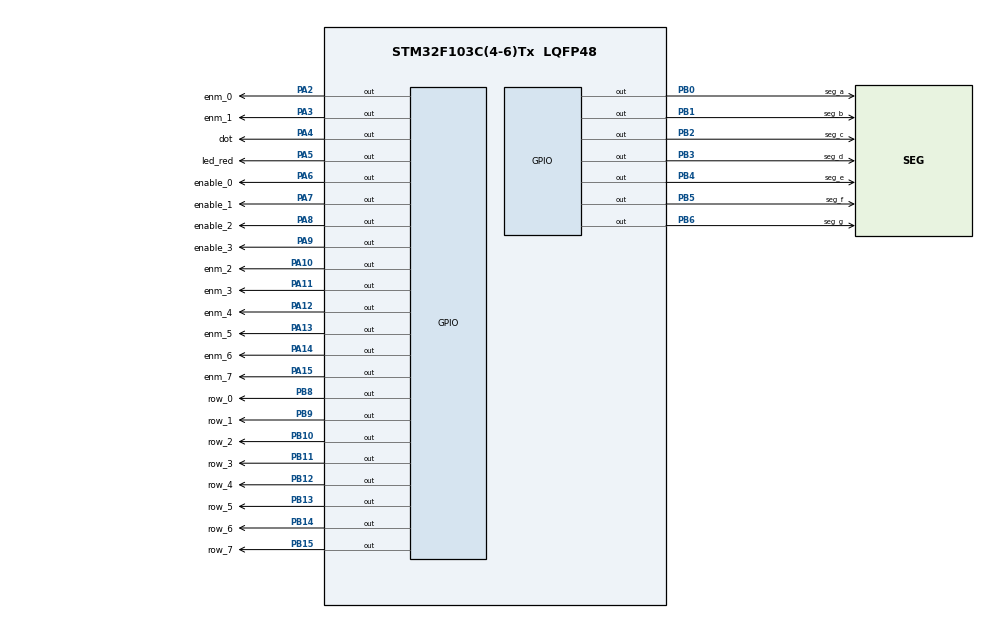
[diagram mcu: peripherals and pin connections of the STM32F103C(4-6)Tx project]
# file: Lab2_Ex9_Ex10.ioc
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Mcu.Family=STM32F1
Mcu.Name=STM32F103C(4-6)Tx
Mcu.Package=LQFP48
NVIC.PriorityGroup=NVIC_PRIORITYGROUP_4
NVIC.TIM2_IRQn=true\:0\:0\:false\:false\:true\:true\:true
PA10.GPIO_Label=enm_2
PA10.Signal=GPIO_Output
PA11.GPIO_Label=enm_3
PA11.Signal=GPIO_Output
PA12.GPIO_Label=enm_4
PA12.Signal=GPIO_Output
PA13.GPIO_Label=enm_5
PA13.Signal=GPIO_Output
PA14.GPIO_Label=enm_6
PA14.Signal=GPIO_Output
PA15.GPIO_Label=enm_7
PA15.Signal=GPIO_Output
PA2.GPIO_Label=enm_0
PA2.Signal=GPIO_Output
PA3.GPIO_Label=enm_1
PA3.Signal=GPIO_Output
PA4.GPIO_Label=dot
PA4.Signal=GPIO_Output
PA5.GPIO_Label=led_red
PA5.Signal=GPIO_Output
PA6.GPIO_Label=enable_0
PA6.Signal=GPIO_Output
PA7.GPIO_Label=enable_1
PA7.Signal=GPIO_Output
PA8.GPIO_Label=enable_2
PA8.Signal=GPIO_Output
PA9.GPIO_Label=enable_3
PA9.Signal=GPIO_Output
PB0.GPIO_Label=seg_a
PB0.Signal=GPIO_Output
PB1.GPIO_Label=seg_b
PB1.Signal=GPIO_Output
PB10.GPIO_Label=row_2
PB10.Signal=GPIO_Output
PB11.GPIO_Label=row_3
PB11.Signal=GPIO_Output
PB12.GPIO_Label=row_4
PB12.Signal=GPIO_Output
PB13.GPIO_Label=row_5
PB13.Signal=GPIO_Output
PB14.GPIO_Label=row_6
PB14.Signal=GPIO_Output
PB15.GPIO_Label=row_7
PB15.Signal=GPIO_Output
PB2.GPIO_Label=seg_c
PB2.Signal=GPIO_Output
PB3.GPIO_Label=seg_d
PB3.Signal=GPIO_Output
PB4.GPIO_Label=seg_e
PB4.Signal=GPIO_Output
PB5.GPIO_Label=seg_f
PB5.Signal=GPIO_Output
PB6.GPIO_Label=seg_g
PB6.Signal=GPIO_Output
PB8.GPIO_Label=row_0
PB8.Signal=GPIO_Output
PB9.GPIO_Label=row_1
PB9.Signal=GPIO_Output
ProjectManager.HeapSize=0x200
ProjectManager.StackSize=0x400
ProjectManager.TargetToolchain=STM32CubeIDE
RCC.APB1Freq_Value=8000000
RCC.APB2Freq_Value=8000000
TIM2.Period=10 - 1
TIM2.Prescaler=8000 - 1
VP_SYS_VS_ND.Mode=No_Debug
VP_TIM2_VS_ClockSourceINT.Mode=Internal
board=custom

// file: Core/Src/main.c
/* USER CODE BEGIN Header */
/**
  ******************************************************************************
  * @file           : main.c
  * @brief          : Main program body
  ******************************************************************************
  * @attention
  *
  * <h2><center>&copy; Copyright (c) 2022 STMicroelectronics.
  * All rights reserved.</center></h2>
  *
  * This software component is licensed by ST under BSD 3-Clause license,
  * the "License"; You may not use this file except in compliance with the
  * License. You may obtain a copy of the License at:
  *                        opensource.org/licenses/BSD-3-Clause
  *
  ******************************************************************************
  */
/* USER CODE END Header */
#include "main.h"

/* USER CODE BEGIN Includes */

#include"software_timer.h"

/* USER CODE END Includes */

TIM_HandleTypeDef htim2;

void SystemClock_Config(void);
static void MX_GPIO_Init(void);
static void MX_TIM2_Init(void);
/* USER CODE BEGIN PFP */

const int MAX_LED = 4;

void display7SEG(int num,
		GPIO_TypeDef* a_seg_GPIO_Port, uint16_t a_seg_Pin,
		GPIO_TypeDef* b_seg_GPIO_Port, uint16_t b_seg_Pin,
		GPIO_TypeDef* c_seg_GPIO_Port, uint16_t c_seg_Pin,
		GPIO_TypeDef* d_seg_GPIO_Port, uint16_t d_seg_Pin,
		GPIO_TypeDef* e_seg_GPIO_Port, uint16_t e_seg_Pin,
		GPIO_TypeDef* f_seg_GPIO_Port, uint16_t f_seg_Pin,
		GPIO_TypeDef* g_seg_GPIO_Port, uint16_t g_seg_Pin);

void update7SEG(int num);

int led_buffer [4] = {1 , 2 , 3 , 4};
void updateClockBuffer(int hour,  int minute);

uint8_t matrix_buffer[8] = {0x01 , 0x02 , 0x03 , 0x04 , 0x05 , 0x06 , 0x07 , 0x08 };
const int MAX_LED_MATRIX = 8;

void updateLEDMatrix (int index);

/* USER CODE END PFP */

int main(void)
{

  /* MCU Configuration--------------------------------------------------------*/

  /* Reset of all peripherals, Initializes the Flash interface and the Systick. */
  HAL_Init();

  /* Configure the system clock */
  SystemClock_Config();

  /* Initialize all configured peripherals */
  MX_GPIO_Init();
  MX_TIM2_Init();
  /* USER CODE BEGIN 2 */

  HAL_TIM_Base_Start_IT(&htim2);

  /* USER CODE END 2 */

  /* Infinite loop */
  /* USER CODE BEGIN WHILE */

  Set_timer(100, 0);
  Set_timer(50, 1);
  Set_timer(100, 2);
  int hour = 22 , minute = 59 , second = 50;
  int index_led = 0;
  int index_led_matrix = 0;
  int first_time = 1;
  while (1)
  {
	  if(first_time == 1)
	  {
			HAL_GPIO_WritePin(seg_a_GPIO_Port, seg_a_Pin, RESET);
			HAL_GPIO_WritePin(seg_b_GPIO_Port, seg_b_Pin, RESET);
			HAL_GPIO_WritePin(seg_c_GPIO_Port, seg_c_Pin, RESET);
			HAL_GPIO_WritePin(seg_d_GPIO_Port, seg_d_Pin, RESET);
			HAL_GPIO_WritePin(seg_e_GPIO_Port, seg_e_Pin, RESET);
			HAL_GPIO_WritePin(seg_f_GPIO_Port, seg_f_Pin, RESET);
			HAL_GPIO_WritePin(seg_g_GPIO_Port, seg_g_Pin, RESET);

			first_time = 0;
	  }

	  if(timer_flag[0] == 1)
	  {
		  Set_timer(100, 0);
		  HAL_GPIO_TogglePin(led_red_GPIO_Port, led_red_Pin);
		  HAL_GPIO_TogglePin(dot_GPIO_Port, dot_Pin);
		  second++;
		  if(second >= 60)
		  {
			  second = 0;
			  minute++;
		  }
		  if(minute >= 60)
		  {
			  minute = 0;
			  hour++;
		  }
		  if(hour >= 24)
		  {
			  hour = 0;
		  }

		  updateClockBuffer(hour, minute);

	  }

	  if(timer_flag[1] == 1)
	  {
		  Set_timer(50, 1);
		  if(index_led >= MAX_LED)
		  {
			  index_led = 0;
		  }
		  update7SEG(index_led);
		  display7SEG(led_buffer[index_led],
		  				  seg_a_GPIO_Port, seg_a_Pin,
		  				  seg_b_GPIO_Port, seg_b_Pin,
		  				  seg_c_GPIO_Port, seg_c_Pin,
		  				  seg_d_GPIO_Port, seg_d_Pin,
		  				  seg_e_GPIO_Port, seg_e_Pin,
		  				  seg_f_GPIO_Port, seg_f_Pin,
		  				  seg_g_GPIO_Port, seg_g_Pin);
		  index_led++;
	  }

	  if(timer_flag[2] == 1)
	  {
		  Set_timer(100, 2);
		  if(index_led_matrix >= 8)
		  {
			  index_led_matrix = 0;

		  updateLEDMatrix(index_led_matrix++);
	  }

    /* USER CODE END WHILE */

  }
}

void SystemClock_Config(void)
{
  RCC_OscInitTypeDef RCC_OscInitStruct = {0};
  RCC_ClkInitTypeDef RCC_ClkInitStruct = {0};

  /** Initializes the RCC Oscillators according to the specified parameters
  * in the RCC_OscInitTypeDef structure.
  */
  RCC_OscInitStruct.OscillatorType = RCC_OSCILLATORTYPE_HSI;
  RCC_OscInitStruct.HSIState = RCC_HSI_ON;
  RCC_OscInitStruct.HSICalibrationValue = RCC_HSICALIBRATION_DEFAULT;
  RCC_OscInitStruct.PLL.PLLState = RCC_PLL_NONE;
  if (HAL_RCC_OscConfig(&RCC_OscInitStruct) != HAL_OK)
  {
    Error_Handler();
  }
  /** Initializes the CPU, AHB and APB buses clocks
  */
  RCC_ClkInitStruct.ClockType = RCC_CLOCKTYPE_HCLK|RCC_CLOCKTYPE_SYSCLK
                              |RCC_CLOCKTYPE_PCLK1|RCC_CLOCKTYPE_PCLK2;
  RCC_ClkInitStruct.SYSCLKSource = RCC_SYSCLKSOURCE_HSI;
  RCC_ClkInitStruct.AHBCLKDivider = RCC_SYSCLK_DIV1;
  RCC_ClkInitStruct.APB1CLKDivider = RCC_HCLK_DIV1;
  RCC_ClkInitStruct.APB2CLKDivider = RCC_HCLK_DIV1;

  if (HAL_RCC_ClockConfig(&RCC_ClkInitStruct, FLASH_LATENCY_0) != HAL_OK)
  {
    Error_Handler();
  }
}

static void MX_TIM2_Init(void)
{

  TIM_ClockConfigTypeDef sClockSourceConfig = {0};
  TIM_MasterConfigTypeDef sMasterConfig = {0};

  htim2.Instance = TIM2;
  htim2.Init.Prescaler = 8000 - 1;
  htim2.Init.CounterMode = TIM_COUNTERMODE_UP;
  htim2.Init.Period = 10 - 1;
  htim2.Init.ClockDivision = TIM_CLOCKDIVISION_DIV1;
  htim2.Init.AutoReloadPreload = TIM_AUTORELOAD_PRELOAD_DISABLE;
  if (HAL_TIM_Base_Init(&htim2) != HAL_OK)
  {
    Error_Handler();
  }
  sClockSourceConfig.ClockSource = TIM_CLOCKSOURCE_INTERNAL;
  if (HAL_TIM_ConfigClockSource(&htim2, &sClockSourceConfig) != HAL_OK)
  {
    Error_Handler();
  }
  sMasterConfig.MasterOutputTrigger = TIM_TRGO_RESET;
  sMasterConfig.MasterSlaveMode = TIM_MASTERSLAVEMODE_DISABLE;
  if (HAL_TIMEx_MasterConfigSynchronization(&htim2, &sMasterConfig) != HAL_OK)
  {
    Error_Handler();
  }

}

static void MX_GPIO_Init(void)
{
  GPIO_InitTypeDef GPIO_InitStruct = {0};

  /* GPIO Ports Clock Enable */
  __HAL_RCC_GPIOA_CLK_ENABLE();
  __HAL_RCC_GPIOB_CLK_ENABLE();

  /*Configure GPIO pin Output Level */
  HAL_GPIO_WritePin(GPIOA, enm_0_Pin|enm_1_Pin|dot_Pin|led_red_Pin
                          |enable_0_Pin|enable_1_Pin|enable_2_Pin|enable_3_Pin
                          |enm_2_Pin|enm_3_Pin|enm_4_Pin|enm_5_Pin
                          |enm_6_Pin|enm_7_Pin, GPIO_PIN_RESET);

  /*Configure GPIO pin Output Level */
  HAL_GPIO_WritePin(GPIOB, seg_a_Pin|seg_b_Pin|seg_c_Pin|row_2_Pin
                          |row_3_Pin|row_4_Pin|row_5_Pin|row_6_Pin
                          |row_7_Pin|seg_d_Pin|seg_e_Pin|seg_f_Pin
                          |seg_g_Pin|row_0_Pin|row_1_Pin, GPIO_PIN_RESET);

  /*Configure GPIO pins : enm_0_Pin enm_1_Pin dot_Pin led_red_Pin
                           enable_0_Pin enable_1_Pin enable_2_Pin enable_3_Pin
                           enm_2_Pin enm_3_Pin enm_4_Pin enm_5_Pin
                           enm_6_Pin enm_7_Pin */
  GPIO_InitStruct.Pin = enm_0_Pin|enm_1_Pin|dot_Pin|led_red_Pin
                          |enable_0_Pin|enable_1_Pin|enable_2_Pin|enable_3_Pin
                          |enm_2_Pin|enm_3_Pin|enm_4_Pin|enm_5_Pin
                          |enm_6_Pin|enm_7_Pin;
  GPIO_InitStruct.Mode = GPIO_MODE_OUTPUT_PP;
  GPIO_InitStruct.Pull = GPIO_NOPULL;
  GPIO_InitStruct.Speed = GPIO_SPEED_FREQ_LOW;
  HAL_GPIO_Init(GPIOA, &GPIO_InitStruct);

  /*Configure GPIO pins : seg_a_Pin seg_b_Pin seg_c_Pin row_2_Pin
                           row_3_Pin row_4_Pin row_5_Pin row_6_Pin
                           row_7_Pin seg_d_Pin seg_e_Pin seg_f_Pin
                           seg_g_Pin row_0_Pin row_1_Pin */
  GPIO_InitStruct.Pin = seg_a_Pin|seg_b_Pin|seg_c_Pin|row_2_Pin
                          |row_3_Pin|row_4_Pin|row_5_Pin|row_6_Pin
                          |row_7_Pin|seg_d_Pin|seg_e_Pin|seg_f_Pin
                          |seg_g_Pin|row_0_Pin|row_1_Pin;
  GPIO_InitStruct.Mode = GPIO_MODE_OUTPUT_PP;
  GPIO_InitStruct.Pull = GPIO_NOPULL;
  GPIO_InitStruct.Speed = GPIO_SPEED_FREQ_LOW;
  HAL_GPIO_Init(GPIOB, &GPIO_InitStruct);

}

/* USER CODE BEGIN 4 */

void HAL_TIM_PeriodElapsedCallback(TIM_HandleTypeDef *htim)
{
	Run_timer();
}

void display7SEG(int num,
		GPIO_TypeDef* a_seg_GPIO_Port, uint16_t a_seg_Pin,
		GPIO_TypeDef* b_seg_GPIO_Port, uint16_t b_seg_Pin,
		GPIO_TypeDef* c_seg_GPIO_Port, uint16_t c_seg_Pin,
		GPIO_TypeDef* d_seg_GPIO_Port, uint16_t d_seg_Pin,
		GPIO_TypeDef* e_seg_GPIO_Port, uint16_t e_seg_Pin,
		GPIO_TypeDef* f_seg_GPIO_Port, uint16_t f_seg_Pin,
		GPIO_TypeDef* g_seg_GPIO_Port, uint16_t g_seg_Pin)
{
	switch (num) {
		case 0:
			HAL_GPIO_WritePin(a_seg_GPIO_Port, a_seg_Pin, RESET);
			HAL_GPIO_WritePin(b_seg_GPIO_Port, b_seg_Pin, RESET);
			HAL_GPIO_WritePin(c_seg_GPIO_Port, c_seg_Pin, RESET);
			HAL_GPIO_WritePin(d_seg_GPIO_Port, d_seg_Pin, RESET);
			HAL_GPIO_WritePin(e_seg_GPIO_Port, e_seg_Pin, RESET);
			HAL_GPIO_WritePin(f_seg_GPIO_Port, f_seg_Pin, RESET);
			HAL_GPIO_WritePin(g_seg_GPIO_Port, g_seg_Pin, SET);
			break;
		case 1:
			HAL_GPIO_WritePin(a_seg_GPIO_Port, a_seg_Pin, SET);
			HAL_GPIO_WritePin(b_seg_GPIO_Port, b_seg_Pin, RESET);
			HAL_GPIO_WritePin(c_seg_GPIO_Port, c_seg_Pin, RESET);
			HAL_GPIO_WritePin(d_seg_GPIO_Port, d_seg_Pin, SET);
			HAL_GPIO_WritePin(e_seg_GPIO_Port, e_seg_Pin, SET);
			HAL_GPIO_WritePin(f_seg_GPIO_Port, f_seg_Pin, SET);
			HAL_GPIO_WritePin(g_seg_GPIO_Port, g_seg_Pin, SET);
			break;
		case 2:
			HAL_GPIO_WritePin(a_seg_GPIO_Port, a_seg_Pin, RESET);
			HAL_GPIO_WritePin(b_seg_GPIO_Port, b_seg_Pin, RESET);
			HAL_GPIO_WritePin(c_seg_GPIO_Port, c_seg_Pin, SET);
			HAL_GPIO_WritePin(d_seg_GPIO_Port, d_seg_Pin, RESET);
			HAL_GPIO_WritePin(e_seg_GPIO_Port, e_seg_Pin, RESET);
			HAL_GPIO_WritePin(f_seg_GPIO_Port, f_seg_Pin, SET);
			HAL_GPIO_WritePin(g_seg_GPIO_Port, g_seg_Pin, RESET);
			break;
		case 3:
			HAL_GPIO_WritePin(a_seg_GPIO_Port, a_seg_Pin, RESET);
			HAL_GPIO_WritePin(b_seg_GPIO_Port, b_seg_Pin, RESET);
			HAL_GPIO_WritePin(c_seg_GPIO_Port, c_seg_Pin, RESET);
			HAL_GPIO_WritePin(d_seg_GPIO_Port, d_seg_Pin, RESET);
			HAL_GPIO_WritePin(e_seg_GPIO_Port, e_seg_Pin, SET);
			HAL_GPIO_WritePin(f_seg_GPIO_Port, f_seg_Pin, SET);
			HAL_GPIO_WritePin(g_seg_GPIO_Port, g_seg_Pin, RESET);
			break;
		case 4:
			HAL_GPIO_WritePin(a_seg_GPIO_Port, a_seg_Pin, SET);
			HAL_GPIO_WritePin(b_seg_GPIO_Port, b_seg_Pin, RESET);
			HAL_GPIO_WritePin(c_seg_GPIO_Port, c_seg_Pin, RESET);
			HAL_GPIO_WritePin(d_seg_GPIO_Port, d_seg_Pin, SET);
			HAL_GPIO_WritePin(e_seg_GPIO_Port, e_seg_Pin, SET);
			HAL_GPIO_WritePin(f_seg_GPIO_Port, f_seg_Pin, RESET);
			HAL_GPIO_WritePin(g_seg_GPIO_Port, g_seg_Pin, RESET);
			break;
		case 5:
			HAL_GPIO_WritePin(a_seg_GPIO_Port, a_seg_Pin, RESET);
			HAL_GPIO_WritePin(b_seg_GPIO_Port, b_seg_Pin, SET);
			HAL_GPIO_WritePin(c_seg_GPIO_Port, c_seg_Pin, RESET);
			HAL_GPIO_WritePin(d_seg_GPIO_Port, d_seg_Pin, RESET);
			HAL_GPIO_WritePin(e_seg_GPIO_Port, e_seg_Pin, SET);
			HAL_GPIO_WritePin(f_seg_GPIO_Port, f_seg_Pin, RESET);
			HAL_GPIO_WritePin(g_seg_GPIO_Port, g_seg_Pin, RESET);
			break;
		case 6:
			HAL_GPIO_WritePin(a_seg_GPIO_Port, a_seg_Pin, RESET);
			HAL_GPIO_WritePin(b_seg_GPIO_Port, b_seg_Pin, SET);
			HAL_GPIO_WritePin(c_seg_GPIO_Port, c_seg_Pin, RESET);
			HAL_GPIO_WritePin(d_seg_GPIO_Port, d_seg_Pin, RESET);
			HAL_GPIO_WritePin(e_seg_GPIO_Port, e_seg_Pin, RESET);
			HAL_GPIO_WritePin(f_seg_GPIO_Port, f_seg_Pin, RESET);
			HAL_GPIO_WritePin(g_seg_GPIO_Port, g_seg_Pin, RESET);
			break;
		case 7:
			HAL_GPIO_WritePin(a_seg_GPIO_Port, a_seg_Pin, RESET);
			HAL_GPIO_WritePin(b_seg_GPIO_Port, b_seg_Pin, RESET);
			HAL_GPIO_WritePin(c_seg_GPIO_Port, c_seg_Pin, RESET);
			HAL_GPIO_WritePin(d_seg_GPIO_Port, d_seg_Pin, SET);
			HAL_GPIO_WritePin(e_seg_GPIO_Port, e_seg_Pin, SET);
			HAL_GPIO_WritePin(f_seg_GPIO_Port, f_seg_Pin, SET);
			HAL_GPIO_WritePin(g_seg_GPIO_Port, g_seg_Pin, SET);
			break;
		case 8:
			HAL_GPIO_WritePin(a_seg_GPIO_Port, a_seg_Pin, RESET);
			HAL_GPIO_WritePin(b_seg_GPIO_Port, b_seg_Pin, RESET);
			HAL_GPIO_WritePin(c_seg_GPIO_Port, c_seg_Pin, RESET);
			HAL_GPIO_WritePin(d_seg_GPIO_Port, d_seg_Pin, RESET);
			HAL_GPIO_WritePin(e_seg_GPIO_Port, e_seg_Pin, RESET);
			HAL_GPIO_WritePin(f_seg_GPIO_Port, f_seg_Pin, RESET);
			HAL_GPIO_WritePin(g_seg_GPIO_Port, g_seg_Pin, RESET);
			break;
		case 9:
			HAL_GPIO_WritePin(a_seg_GPIO_Port, a_seg_Pin, RESET);
			HAL_GPIO_WritePin(b_seg_GPIO_Port, b_seg_Pin, RESET);
			HAL_GPIO_WritePin(c_seg_GPIO_Port, c_seg_Pin, RESET);
			HAL_GPIO_WritePin(d_seg_GPIO_Port, d_seg_Pin, RESET);
			HAL_GPIO_WritePin(e_seg_GPIO_Port, e_seg_Pin, SET);
			HAL_GPIO_WritePin(f_seg_GPIO_Port, f_seg_Pin, RESET);
			HAL_GPIO_WritePin(g_seg_GPIO_Port, g_seg_Pin, RESET);
			break;
		default:
			break;
	}
}

void update7SEG(int num)
{
	  switch (num)
	  {
		case 0:
			HAL_GPIO_WritePin(enable_0_GPIO_Port, enable_0_Pin, RESET);
			HAL_GPIO_WritePin(enable_1_GPIO_Port, enable_1_Pin, SET);
			HAL_GPIO_WritePin(enable_2_GPIO_Port, enable_2_Pin, SET);
			HAL_GPIO_WritePin(enable_3_GPIO_Port, enable_3_Pin, SET);
			break;
		case 1:
			HAL_GPIO_WritePin(enable_0_GPIO_Port, enable_0_Pin, SET);
			HAL_GPIO_WritePin(enable_1_GPIO_Port, enable_1_Pin, RESET);
			HAL_GPIO_WritePin(enable_2_GPIO_Port, enable_2_Pin, SET);
			HAL_GPIO_WritePin(enable_3_GPIO_Port, enable_3_Pin, SET);
			break;
		case 2:
			HAL_GPIO_WritePin(enable_0_GPIO_Port, enable_0_Pin, SET);
			HAL_GPIO_WritePin(enable_1_GPIO_Port, enable_1_Pin, SET);
			HAL_GPIO_WritePin(enable_2_GPIO_Port, enable_2_Pin, RESET);
			HAL_GPIO_WritePin(enable_3_GPIO_Port, enable_3_Pin, SET);
			break;
		case 3:
			HAL_GPIO_WritePin(enable_0_GPIO_Port, enable_0_Pin, SET);
			HAL_GPIO_WritePin(enable_1_GPIO_Port, enable_1_Pin, SET);
			HAL_GPIO_WritePin(enable_2_GPIO_Port, enable_2_Pin, SET);
			HAL_GPIO_WritePin(enable_3_GPIO_Port, enable_3_Pin, RESET);
			break;
		default:
			break;
	  }
}

void updateClockBuffer(int hour,  int minute)
{

	if(hour >= 0 && hour <10)
	{
		led_buffer[0] = 0;
		led_buffer[1] = hour;
	}
	else
	{
		led_buffer[0] = hour/10;
		led_buffer[1] = hour%10;
	}

	if(minute >= 0 && minute <10)
	{
		led_buffer[2] = 0;
		led_buffer[3] = minute;
	}
	else
	{
		led_buffer[2] = minute/10;
		led_buffer[3] = minute%10;
	}
}

void updateLEDMatrix (int index)
{
	switch (index) {
		/*case 0:
			GPIOA->BSRR = (uint32_t)matrix_buffer[index] <<	17 | ((uint16_t)(~matrix_buffer[index]) << 8 >> 7);
			GPIOB->BSRR = (uint32_t)GPIO_PIN_8 << 16 | GPIO_PIN_9 | GPIO_PIN_10 | GPIO_PIN_11 | GPIO_PIN_12 | GPIO_PIN_13 | GPIO_PIN_14 | GPIO_PIN_15;

			break;
		case 1://111111
			GPIOA->BSRR = (uint32_t)matrix_buffer[index] << 17 | ((uint16_t)(~matrix_buffer[index]) << 8 >> 7);
			GPIOB->BSRR = (uint32_t)GPIO_PIN_9 << 16 | GPIO_PIN_8 | GPIO_PIN_10 | GPIO_PIN_11 | GPIO_PIN_12 | GPIO_PIN_13 | GPIO_PIN_14| GPIO_PIN_15;
			break;
		case 2://222222
			GPIOA->BSRR = (uint32_t)matrix_buffer[index] << 17 | ((uint16_t)(~matrix_buffer[index]) << 8 >> 7);
			GPIOB->BSRR = (uint32_t)GPIO_PIN_10 << 16 | GPIO_PIN_8 | GPIO_PIN_9 | GPIO_PIN_11 | GPIO_PIN_12 | GPIO_PIN_13 | GPIO_PIN_14| GPIO_PIN_15;
			break;
		case 3://333333
			GPIOA->BSRR = (uint32_t)matrix_buffer[index] << 17 | ((uint16_t)(~matrix_buffer[index]) << 8 >> 7);
			GPIOB->BSRR = (uint32_t)GPIO_PIN_11 << 16 | GPIO_PIN_8 | GPIO_PIN_9 | GPIO_PIN_10 | GPIO_PIN_12 | GPIO_PIN_13 | GPIO_PIN_14| GPIO_PIN_15;
			break;
		case 4://444444
			GPIOA->BSRR = (uint32_t)matrix_buffer[index] << 17 | ((uint16_t)(~matrix_buffer[index]) << 8 >> 7);
			GPIOB->BSRR = (uint32_t)GPIO_PIN_12 << 16 | GPIO_PIN_8 | GPIO_PIN_9 | GPIO_PIN_10 | GPIO_PIN_11 | GPIO_PIN_13 | GPIO_PIN_14| GPIO_PIN_15;
			break;
		case 5://555555
			GPIOA->BSRR = (uint32_t)matrix_buffer[index] << 17 | ((uint16_t)(~matrix_buffer[index]) << 8 >> 7);
			GPIOB->BSRR = (uint32_t)GPIO_PIN_13 << 16 | GPIO_PIN_8 | GPIO_PIN_9 | GPIO_PIN_10 | GPIO_PIN_11 | GPIO_PIN_12 | GPIO_PIN_14| GPIO_PIN_15;
			break;
		case 6:
			GPIOA->BSRR = (uint32_t)matrix_buffer[index] << 17 | ((uint16_t)(~matrix_buffer[index]) << 8 >> 7);
			GPIOB->BSRR = (uint32_t)GPIO_PIN_14 << 16 | GPIO_PIN_8 | GPIO_PIN_9 | GPIO_PIN_10 | GPIO_PIN_11 | GPIO_PIN_12 | GPIO_PIN_13| GPIO_PIN_15;
			break;
		case 7:
			GPIOA->BSRR = (uint32_t)matrix_buffer[index] << 17 | ((uint16_t)(~matrix_buffer[index]) << 8 >> 7);
			GPIOB->BSRR = (uint32_t)GPIO_PIN_15 << 16 | GPIO_PIN_8 | GPIO_PIN_9 | GPIO_PIN_10 | GPIO_PIN_11 | GPIO_PIN_12 | GPIO_PIN_13| GPIO_PIN_14;
			break;*/
		default:
			break;
	}
}

/* USER CODE END 4 */

void Error_Handler(void)
{
  __disable_irq();
  while (1)
  {
  }
}

/************************ (C) COPYRIGHT STMicroelectronics *****END OF FILE****/
